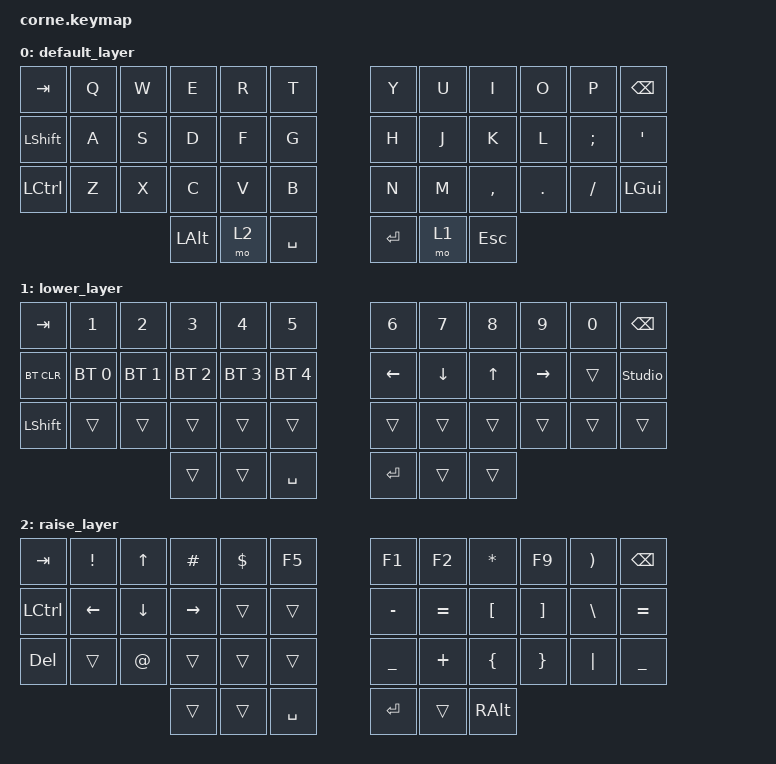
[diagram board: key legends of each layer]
/*
 * Copyright (c) 2020 The ZMK Contributors
 *
 * SPDX-License-Identifier: MIT
 */

#include <behaviors.dtsi>
#include <dt-bindings/zmk/bt.h>
#include <dt-bindings/zmk/keys.h>

/ {
    keymap {
        compatible = "zmk,keymap";

        default_layer {
            // -----------------------------------------------------------------------------------------
            // |  TAB |  Q  |  W  |  E  |  R  |  T  |   |  Y  |  U   |  I  |  O  |  P  | BSPC |
            // | SHFT |  A  |  S  |  D  |  F  |  G  |   |  H  |  J   |  K  |  L  |  ;  |  '   |
            // | CTRL |  Z  |  X  |  C  |  V  |  B  |   |  N  |  M   |  ,  |  .  |  /  | GUI  |
            //                    | ALT | RSE | SPC |   | ENT | LWR  | ESC |

            bindings = <
&kp TAB           &kp Q  &kp W  &kp E     &kp R  &kp T        &kp Y    &kp U  &kp I       &kp O    &kp P     &kp BSPC
&kp LEFT_SHIFT    &kp A  &kp S  &kp D     &kp F  &kp G        &kp H    &kp J  &kp K       &kp L    &kp SEMI  &kp SQT
&kp LEFT_CONTROL  &kp Z  &kp X  &kp C     &kp V  &kp B        &kp N    &kp M  &kp COMMA   &kp DOT  &kp FSLH  &kp LGUI
                                &kp LALT  &mo 2  &kp SPACE    &kp RET  &mo 1  &kp ESCAPE
            >;
        };

        lower_layer {
            // -----------------------------------------------------------------------------------------
            // |  TAB |  1  |  2  |  3  |  4  |  5  |   |  6  |  7  |  8  |  9  |  0  | BSPC |
            // | BTCLR| BT1 | BT2 | BT3 | BT4 | BT5 |   | LFT | DWN |  UP | RGT |     |STUDIO|
            // | SHFT |     |     |     |     |     |   |     |     |     |     |     |      |
            //                    |     |     | SPC |   | ENT |     |     |

            bindings = <
&kp TAB     &kp N1        &kp N2        &kp N3        &kp N4        &kp N5          &kp N6    &kp N7    &kp N8    &kp N9     &kp N0  &kp BSPC
&bt BT_CLR  &bt BT_SEL 0  &bt BT_SEL 1  &bt BT_SEL 2  &bt BT_SEL 3  &bt BT_SEL 4    &kp LEFT  &kp DOWN  &kp UP    &kp RIGHT  &trans  &studio_unlock
&kp LSHFT   &trans        &trans        &trans        &trans        &trans          &trans    &trans    &trans    &trans     &trans  &trans
                                        &trans        &trans        &kp SPACE       &kp RET   &trans    &trans
            >;
        };

        raise_layer {
            // -----------------------------------------------------------------------------------------
            // |  TAB |  !  |  UP |  #  |  $  |  F5 |   |  F1 |  F2 |  *  |  F9 |  )  | BSPC |
            // | CTRL | LFT | DWN | RGT |     |     |   |  -  |  =  |  [  |  ]  |  \  |  =   |
            // | DEL  |     |  @  |     |     |     |   |  _  |  +  |  {  |  }  | "|" |  _   |
            //                    |     |     | SPC |   | ENT |     | ALT |

            bindings = <
&kp TAB    &kp EXCL  &kp UP    &kp HASH   &kp DLLR  &kp F5       &kp F1     &kp F2     &kp ASTRK  &kp F9    &kp RPAR  &kp BSPC
&kp LCTRL  &kp LEFT  &kp DOWN  &kp RIGHT  &trans    &trans       &kp MINUS  &kp EQUAL  &kp LBKT   &kp RBKT  &kp BSLH  &kp EQUAL
&kp DEL    &trans    &kp AT    &trans     &trans    &trans       &kp UNDER  &kp PLUS   &kp LBRC   &kp RBRC  &kp PIPE  &kp UNDER
                               &trans     &trans    &kp SPACE    &kp RET    &trans     &kp RALT
            >;
        };
    };
};
